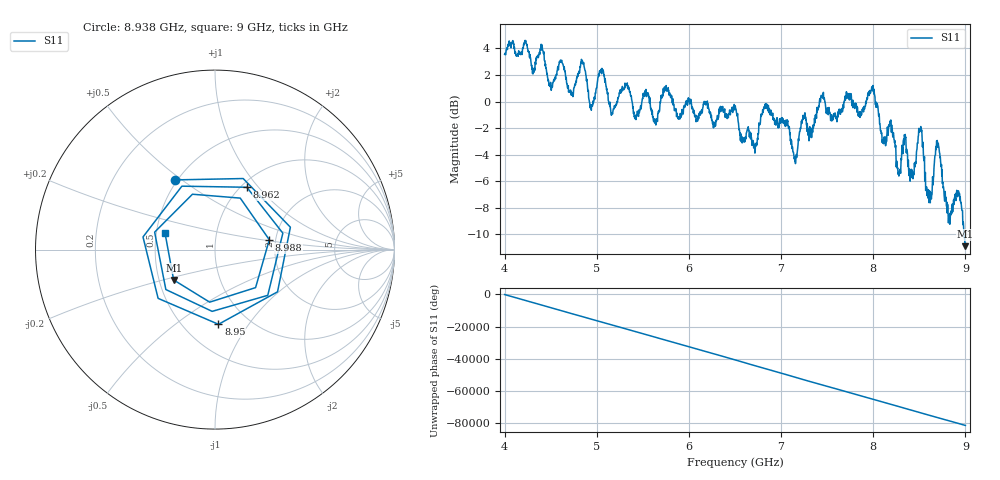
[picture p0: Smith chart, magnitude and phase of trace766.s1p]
! Created with skrf 1.8.0 (http://scikit-rf.org).
# Hz S RI R 50.0
!freq ReS11 ImS11
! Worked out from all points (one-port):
!   1601 points, 4 GHz to 9 GHz, reference 50 ohm
!   lowest |S11| = -10.9 dB at 8.997 GHz (marker M1), VSWR 1.80, Z = 29.8 - j11 ohm
!   |S11| at or under -10 dB: 8.98509 GHz to end of sweep
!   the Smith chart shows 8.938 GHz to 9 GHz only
!   S11 on the Smith chart (normalised r, x): 8.938 GHz: 0.48, +0.47; 8.95 GHz: 0.73, -0.73; 8.962 GHz: 1.06, +0.87; 8.988 GHz: 1.85, +0.22; 9 GHz: 0.56, +0.11
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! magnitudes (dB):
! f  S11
! 4 GHz  3.6
! 4.625 GHz  2.9
! 4.722 GHz  0.5
! 4.85 GHz  2.8
! 4.941 GHz  -0.7
! 5.05 GHz  2.2
! 5.159 GHz  -1.0
! 5.25 GHz  0.8
! 5.875 GHz  -1.1
! 6.5 GHz  -0.3
! 6.584 GHz  -2.7
! 6.838 GHz  -0.2
! 7.125 GHz  -3.4
! 7.441 GHz  0.5
! 7.75 GHz  0.4
! 7.991 GHz  0.8
! 8.272 GHz  -5.4
! 8.375 GHz  -4.9
! 8.512 GHz  -2.0
! 8.594 GHz  -7.3
! 8.697 GHz  -3.1
! 8.819 GHz  -8.8
! 8.938 GHz  -7.0
! 8.95 GHz  -7.6
! 8.962 GHz  -8.2
! 8.988 GHz  -10.2
! 8.997 GHz  -10.9
! 9 GHz  -10.7
